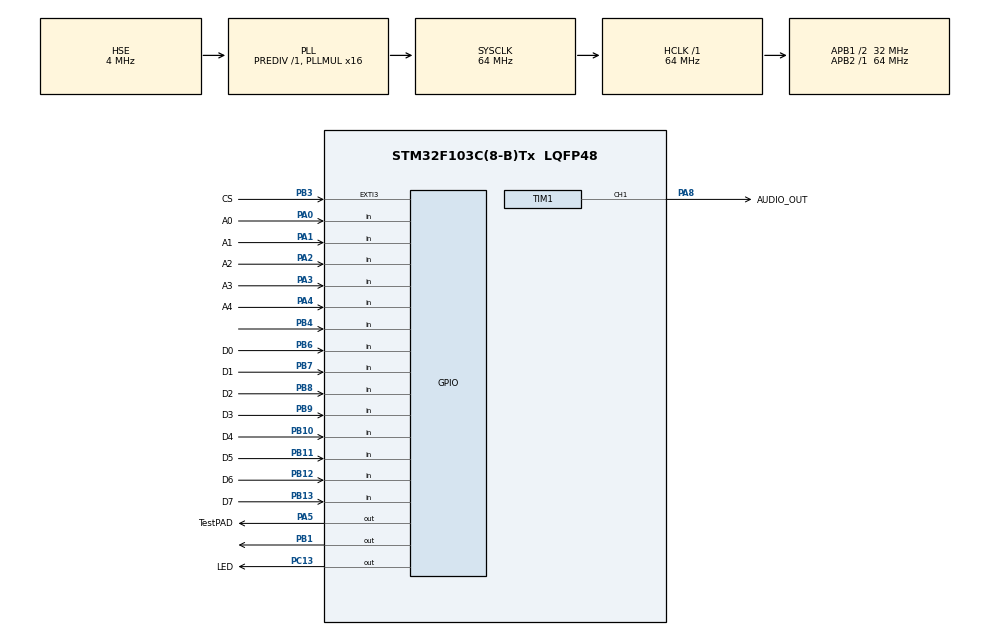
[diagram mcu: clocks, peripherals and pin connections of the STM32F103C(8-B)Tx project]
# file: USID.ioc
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Mcu.Family=STM32F1
Mcu.Name=STM32F103C(8-B)Tx
Mcu.Package=LQFP48
NVIC.EXTI3_IRQn=true\:0\:0\:false\:false\:true\:true\:true
NVIC.PriorityGroup=NVIC_PRIORITYGROUP_4
NVIC.TIM2_IRQn=true\:5\:0\:true\:false\:true\:true\:true
PA0-WKUP.GPIO_Label=A0
PA0-WKUP.Signal=GPIO_Input
PA1.GPIO_Label=A1
PA1.Signal=GPIO_Input
PA13.Mode=Serial_Wire
PA13.Signal=SYS_JTMS-SWDIO
PA14.Mode=Serial_Wire
PA14.Signal=SYS_JTCK-SWCLK
PA2.GPIO_Label=A2
PA2.Signal=GPIO_Input
PA3.GPIO_Label=A3
PA3.Signal=GPIO_Input
PA4.GPIO_Label=A4
PA4.Signal=GPIO_Input
PA5.GPIO_Label=TestPAD
PA5.GPIO_Speed=GPIO_SPEED_FREQ_HIGH
PA5.PinState=GPIO_PIN_RESET
PA5.Signal=GPIO_Output
PA8.GPIO_Label=AUDIO_OUT
PA8.GPIO_Speed=GPIO_SPEED_FREQ_HIGH
PA8.Signal=S_TIM1_CH1
PB1.GPIO_Speed=GPIO_SPEED_FREQ_HIGH
PB1.Signal=GPIO_Output
PB10.GPIO_Label=D4
PB10.Signal=GPIO_Input
PB11.GPIO_Label=D5
PB11.Signal=GPIO_Input
PB12.GPIO_Label=D6
PB12.Signal=GPIO_Input
PB13.GPIO_Label=D7
PB13.Signal=GPIO_Input
PB3.GPIO_Label=CS
PB3.GPIO_ModeDefaultEXTI=GPIO_MODE_IT_FALLING
PB3.GPIO_PuPd=GPIO_NOPULL
PB3.Signal=GPXTI3
PB4.Signal=GPIO_Input
PB6.GPIO_Label=D0
PB6.Signal=GPIO_Input
PB7.GPIO_Label=D1
PB7.Signal=GPIO_Input
PB8.GPIO_Label=D2
PB8.Signal=GPIO_Input
PB9.GPIO_Label=D3
PB9.Signal=GPIO_Input
PC13-TAMPER-RTC.GPIO_Label=LED
PC13-TAMPER-RTC.GPIO_Speed=GPIO_SPEED_FREQ_HIGH
PC13-TAMPER-RTC.Signal=GPIO_Output
PC14-OSC32_IN.Mode=LSE-External-Oscillator
PC14-OSC32_IN.Signal=RCC_OSC32_IN
PC15-OSC32_OUT.Mode=LSE-External-Oscillator
PC15-OSC32_OUT.Signal=RCC_OSC32_OUT
PD0-OSC_IN.Mode=HSE-External-Oscillator
PD0-OSC_IN.Signal=RCC_OSC_IN
PD1-OSC_OUT.Mode=HSE-External-Oscillator
PD1-OSC_OUT.Signal=RCC_OSC_OUT
ProjectManager.HeapSize=0x200
ProjectManager.StackSize=0x400
ProjectManager.TargetToolchain=MDK-ARM V5.27
RCC.AHBFreq_Value=64000000
RCC.APB1CLKDivider=RCC_HCLK_DIV2
RCC.APB1Freq_Value=32000000
RCC.APB1TimFreq_Value=64000000
RCC.APB2Freq_Value=64000000
RCC.APB2TimFreq_Value=64000000
RCC.HCLKFreq_Value=64000000
RCC.HSE_VALUE=4000000
RCC.PLLMUL=RCC_PLL_MUL16
RCC.PLLSourceVirtual=RCC_PLLSOURCE_HSE
RCC.SYSCLKFreq_VALUE=64000000
RCC.SYSCLKSource=RCC_SYSCLKSOURCE_PLLCLK
RCC.USBFreq_Value=64000000
SH.S_TIM1_CH1.0=TIM1_CH1,PWM Generation1 CH1
TIM1.Channel-PWM\ Generation1\ CH1=TIM_CHANNEL_1
TIM1.Period=288
TIM1.Prescaler=16
TIM2.AutoReloadPreload=TIM_AUTORELOAD_PRELOAD_ENABLE
TIM2.Channel-Output\ Compare2\ No\ Output=TIM_CHANNEL_2
TIM2.Period=64
TIM2.Prescaler=16
TIM2.Pulse-Output\ Compare2\ No\ Output=1
VP_TIM1_VS_ClockSourceINT.Mode=Internal
VP_TIM2_VS_ClockSourceINT.Mode=Internal
VP_TIM2_VS_no_output2.Mode=Output Compare2 No Output
board=custom

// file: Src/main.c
/* USER CODE BEGIN Header */
/**
  ******************************************************************************
  * @file           : main.c
  * @brief          : Main program body
  ******************************************************************************
  * @attention
  *
  * <h2><center>&copy; Copyright (c) 2020 STMicroelectronics.
  * All rights reserved.</center></h2>
  *
  * This software component is licensed by ST under BSD 3-Clause license,
  * the "License"; You may not use this file except in compliance with the
  * License. You may obtain a copy of the License at:
  *                        opensource.org/licenses/BSD-3-Clause
  *
  ******************************************************************************
  */
/* USER CODE END Header */

#include "main.h"

/* USER CODE BEGIN Includes */
#include "usid.h"
/* USER CODE END Includes */

TIM_HandleTypeDef htim1;
TIM_HandleTypeDef htim2;

/* USER CODE BEGIN PV */
extern uint32_t address_lines16_p;
extern uint32_t data_lines16_p;
extern uint32_t data_buffer[255];
extern uint32_t address_buffer[255];
extern uint8_t	readIndex;
extern uint8_t	writeIndex;
extern uint8_t	bufferLength;
/* USER CODE END PV */

void SystemClock_Config(void);
static void MX_GPIO_Init(void);
static void MX_TIM1_Init(void);
static void MX_TIM2_Init(void);

int main(void)
{

  /* MCU Configuration--------------------------------------------------------*/

  /* Reset of all peripherals, Initializes the Flash interface and the Systick. */
  HAL_Init();

  /* Configure the system clock */
  SystemClock_Config();

  /* USER CODE BEGIN SysInit */
  delay(1000);
  /* USER CODE END SysInit */

  /* Initialize all configured peripherals */
  MX_GPIO_Init();
  MX_TIM1_Init();
  MX_TIM2_Init();
  /* USER CODE BEGIN 2 */

  setup();
  /* USER CODE END 2 */

  /* Infinite loop */
  while (1)
  {

    /* USER CODE BEGIN 3 */
		if (bufferLength>0)
		{
			uint32_t data = data_buffer[readIndex];
			uint32_t address = address_buffer[readIndex];
			bufferLength--;
			readIndex++;
			setreg(address&31 ,(data&16320)>>6);
		}
  }
  /* USER CODE END 3 */
}

void SystemClock_Config(void)
{
  RCC_OscInitTypeDef RCC_OscInitStruct = {0};
  RCC_ClkInitTypeDef RCC_ClkInitStruct = {0};

  /** Initializes the CPU, AHB and APB busses clocks
  */
  RCC_OscInitStruct.OscillatorType = RCC_OSCILLATORTYPE_HSE;
  RCC_OscInitStruct.HSEState = RCC_HSE_ON;
  RCC_OscInitStruct.HSEPredivValue = RCC_HSE_PREDIV_DIV1;
  RCC_OscInitStruct.HSIState = RCC_HSI_ON;
  RCC_OscInitStruct.PLL.PLLState = RCC_PLL_ON;
  RCC_OscInitStruct.PLL.PLLSource = RCC_PLLSOURCE_HSE;
  RCC_OscInitStruct.PLL.PLLMUL = RCC_PLL_MUL16;
  if (HAL_RCC_OscConfig(&RCC_OscInitStruct) != HAL_OK)
  {
    Error_Handler();
  }
  /** Initializes the CPU, AHB and APB busses clocks
  */
  RCC_ClkInitStruct.ClockType = RCC_CLOCKTYPE_HCLK|RCC_CLOCKTYPE_SYSCLK
                              |RCC_CLOCKTYPE_PCLK1|RCC_CLOCKTYPE_PCLK2;
  RCC_ClkInitStruct.SYSCLKSource = RCC_SYSCLKSOURCE_PLLCLK;
  RCC_ClkInitStruct.AHBCLKDivider = RCC_SYSCLK_DIV1;
  RCC_ClkInitStruct.APB1CLKDivider = RCC_HCLK_DIV2;
  RCC_ClkInitStruct.APB2CLKDivider = RCC_HCLK_DIV1;

  if (HAL_RCC_ClockConfig(&RCC_ClkInitStruct, FLASH_LATENCY_2) != HAL_OK)
  {
    Error_Handler();
  }
}

static void MX_TIM1_Init(void)
{

  TIM_ClockConfigTypeDef sClockSourceConfig = {0};
  TIM_MasterConfigTypeDef sMasterConfig = {0};
  TIM_OC_InitTypeDef sConfigOC = {0};
  TIM_BreakDeadTimeConfigTypeDef sBreakDeadTimeConfig = {0};

  htim1.Instance = TIM1;
  htim1.Init.Prescaler = 16;
  htim1.Init.CounterMode = TIM_COUNTERMODE_UP;
  htim1.Init.Period = 288;
  htim1.Init.ClockDivision = TIM_CLOCKDIVISION_DIV1;
  htim1.Init.RepetitionCounter = 0;
  htim1.Init.AutoReloadPreload = TIM_AUTORELOAD_PRELOAD_DISABLE;
  if (HAL_TIM_Base_Init(&htim1) != HAL_OK)
  {
    Error_Handler();
  }
  sClockSourceConfig.ClockSource = TIM_CLOCKSOURCE_INTERNAL;
  if (HAL_TIM_ConfigClockSource(&htim1, &sClockSourceConfig) != HAL_OK)
  {
    Error_Handler();
  }
  if (HAL_TIM_PWM_Init(&htim1) != HAL_OK)
  {
    Error_Handler();
  }
  sMasterConfig.MasterOutputTrigger = TIM_TRGO_RESET;
  sMasterConfig.MasterSlaveMode = TIM_MASTERSLAVEMODE_DISABLE;
  if (HAL_TIMEx_MasterConfigSynchronization(&htim1, &sMasterConfig) != HAL_OK)
  {
    Error_Handler();
  }
  sConfigOC.OCMode = TIM_OCMODE_PWM1;
  sConfigOC.Pulse = 0;
  sConfigOC.OCPolarity = TIM_OCPOLARITY_HIGH;
  sConfigOC.OCNPolarity = TIM_OCNPOLARITY_HIGH;
  sConfigOC.OCFastMode = TIM_OCFAST_DISABLE;
  sConfigOC.OCIdleState = TIM_OCIDLESTATE_RESET;
  sConfigOC.OCNIdleState = TIM_OCNIDLESTATE_RESET;
  if (HAL_TIM_PWM_ConfigChannel(&htim1, &sConfigOC, TIM_CHANNEL_1) != HAL_OK)
  {
    Error_Handler();
  }
  sBreakDeadTimeConfig.OffStateRunMode = TIM_OSSR_DISABLE;
  sBreakDeadTimeConfig.OffStateIDLEMode = TIM_OSSI_DISABLE;
  sBreakDeadTimeConfig.LockLevel = TIM_LOCKLEVEL_OFF;
  sBreakDeadTimeConfig.DeadTime = 0;
  sBreakDeadTimeConfig.BreakState = TIM_BREAK_DISABLE;
  sBreakDeadTimeConfig.BreakPolarity = TIM_BREAKPOLARITY_HIGH;
  sBreakDeadTimeConfig.AutomaticOutput = TIM_AUTOMATICOUTPUT_DISABLE;
  if (HAL_TIMEx_ConfigBreakDeadTime(&htim1, &sBreakDeadTimeConfig) != HAL_OK)
  {
    Error_Handler();
  }
  HAL_TIM_MspPostInit(&htim1);

}

static void MX_TIM2_Init(void)
{

  TIM_ClockConfigTypeDef sClockSourceConfig = {0};
  TIM_MasterConfigTypeDef sMasterConfig = {0};
  TIM_OC_InitTypeDef sConfigOC = {0};

  htim2.Instance = TIM2;
  htim2.Init.Prescaler = 16;
  htim2.Init.CounterMode = TIM_COUNTERMODE_UP;
  htim2.Init.Period = 64;
  htim2.Init.ClockDivision = TIM_CLOCKDIVISION_DIV1;
  htim2.Init.AutoReloadPreload = TIM_AUTORELOAD_PRELOAD_ENABLE;
  if (HAL_TIM_Base_Init(&htim2) != HAL_OK)
  {
    Error_Handler();
  }
  sClockSourceConfig.ClockSource = TIM_CLOCKSOURCE_INTERNAL;
  if (HAL_TIM_ConfigClockSource(&htim2, &sClockSourceConfig) != HAL_OK)
  {
    Error_Handler();
  }
  if (HAL_TIM_OC_Init(&htim2) != HAL_OK)
  {
    Error_Handler();
  }
  sMasterConfig.MasterOutputTrigger = TIM_TRGO_RESET;
  sMasterConfig.MasterSlaveMode = TIM_MASTERSLAVEMODE_DISABLE;
  if (HAL_TIMEx_MasterConfigSynchronization(&htim2, &sMasterConfig) != HAL_OK)
  {
    Error_Handler();
  }
  sConfigOC.OCMode = TIM_OCMODE_TIMING;
  sConfigOC.Pulse = 1;
  sConfigOC.OCPolarity = TIM_OCPOLARITY_HIGH;
  sConfigOC.OCFastMode = TIM_OCFAST_DISABLE;
  if (HAL_TIM_OC_ConfigChannel(&htim2, &sConfigOC, TIM_CHANNEL_2) != HAL_OK)
  {
    Error_Handler();
  }

}

static void MX_GPIO_Init(void)
{
  GPIO_InitTypeDef GPIO_InitStruct = {0};

  /* GPIO Ports Clock Enable */
  __HAL_RCC_GPIOC_CLK_ENABLE();
  __HAL_RCC_GPIOD_CLK_ENABLE();
  __HAL_RCC_GPIOA_CLK_ENABLE();
  __HAL_RCC_GPIOB_CLK_ENABLE();

  /*Configure GPIO pin Output Level */
  HAL_GPIO_WritePin(LED_GPIO_Port, LED_Pin, GPIO_PIN_RESET);

  /*Configure GPIO pin Output Level */
  HAL_GPIO_WritePin(TestPAD_GPIO_Port, TestPAD_Pin, GPIO_PIN_RESET);

  /*Configure GPIO pin Output Level */
  HAL_GPIO_WritePin(GPIOB, GPIO_PIN_1, GPIO_PIN_RESET);

  /*Configure GPIO pin : LED_Pin */
  GPIO_InitStruct.Pin = LED_Pin;
  GPIO_InitStruct.Mode = GPIO_MODE_OUTPUT_PP;
  GPIO_InitStruct.Pull = GPIO_NOPULL;
  GPIO_InitStruct.Speed = GPIO_SPEED_FREQ_HIGH;
  HAL_GPIO_Init(LED_GPIO_Port, &GPIO_InitStruct);

  /*Configure GPIO pins : A0_Pin A1_Pin A2_Pin A3_Pin
                           A4_Pin */
  GPIO_InitStruct.Pin = A0_Pin|A1_Pin|A2_Pin|A3_Pin
                          |A4_Pin;
  GPIO_InitStruct.Mode = GPIO_MODE_INPUT;
  GPIO_InitStruct.Pull = GPIO_NOPULL;
  HAL_GPIO_Init(GPIOA, &GPIO_InitStruct);

  /*Configure GPIO pin : TestPAD_Pin */
  GPIO_InitStruct.Pin = TestPAD_Pin;
  GPIO_InitStruct.Mode = GPIO_MODE_OUTPUT_PP;
  GPIO_InitStruct.Pull = GPIO_NOPULL;
  GPIO_InitStruct.Speed = GPIO_SPEED_FREQ_HIGH;
  HAL_GPIO_Init(TestPAD_GPIO_Port, &GPIO_InitStruct);

  /*Configure GPIO pin : PB1 */
  GPIO_InitStruct.Pin = GPIO_PIN_1;
  GPIO_InitStruct.Mode = GPIO_MODE_OUTPUT_PP;
  GPIO_InitStruct.Pull = GPIO_NOPULL;
  GPIO_InitStruct.Speed = GPIO_SPEED_FREQ_HIGH;
  HAL_GPIO_Init(GPIOB, &GPIO_InitStruct);

  /*Configure GPIO pins : D4_Pin D5_Pin D6_Pin D7_Pin
                           PB4 D0_Pin D1_Pin D2_Pin
                           D3_Pin */
  GPIO_InitStruct.Pin = D4_Pin|D5_Pin|D6_Pin|D7_Pin
                          |GPIO_PIN_4|D0_Pin|D1_Pin|D2_Pin
                          |D3_Pin;
  GPIO_InitStruct.Mode = GPIO_MODE_INPUT;
  GPIO_InitStruct.Pull = GPIO_NOPULL;
  HAL_GPIO_Init(GPIOB, &GPIO_InitStruct);

  /*Configure GPIO pin : CS_Pin */
  GPIO_InitStruct.Pin = CS_Pin;
  GPIO_InitStruct.Mode = GPIO_MODE_IT_FALLING;
  GPIO_InitStruct.Pull = GPIO_NOPULL;
  HAL_GPIO_Init(CS_GPIO_Port, &GPIO_InitStruct);

  /* EXTI interrupt init*/
  HAL_NVIC_SetPriority(EXTI3_IRQn, 0, 0);
  HAL_NVIC_EnableIRQ(EXTI3_IRQn);

}

void Error_Handler(void)
{
}

/************************ (C) COPYRIGHT STMicroelectronics *****END OF FILE****/
